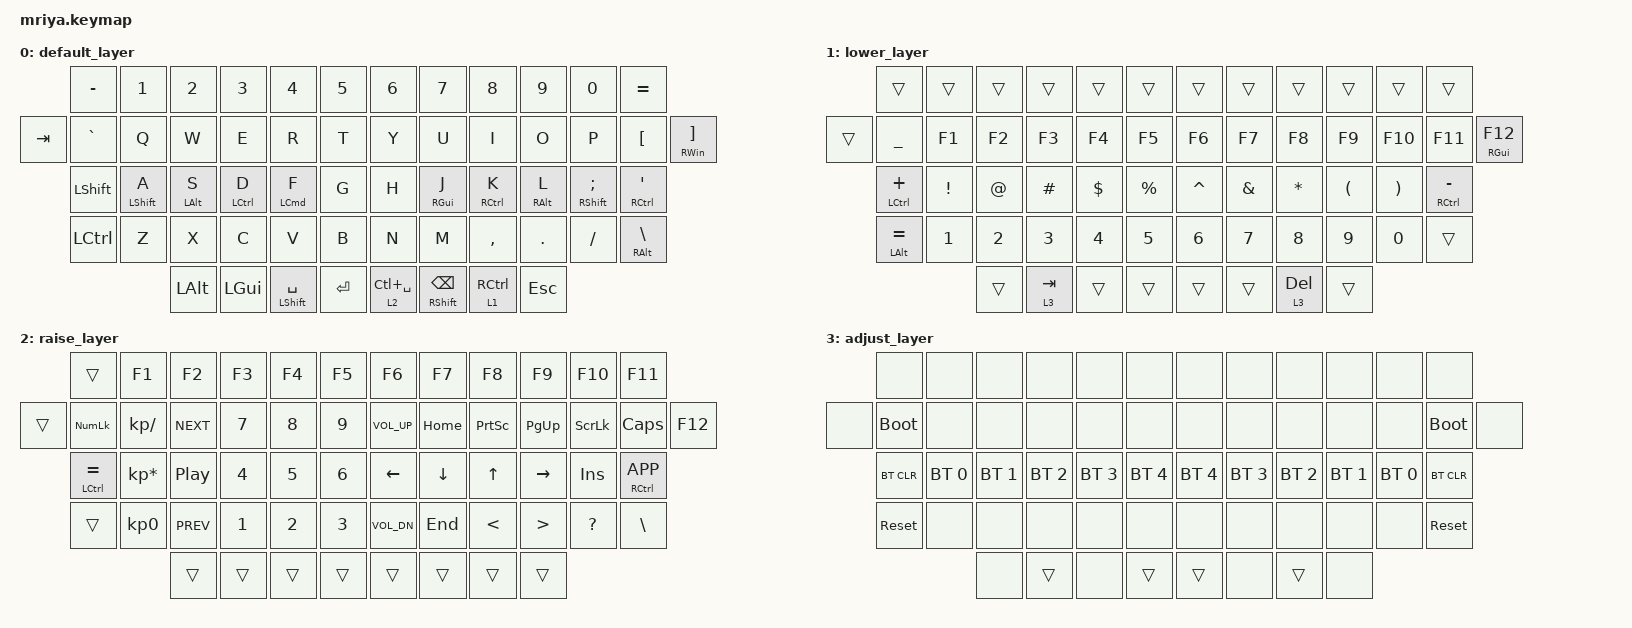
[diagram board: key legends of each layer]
/*
 * Copyright (c) 2023 Andrei Gaevskii
 *
 * SPDX-License-Identifier: MIT
 */

#include <behaviors.dtsi>
#include <dt-bindings/zmk/bt.h>
#include <dt-bindings/zmk/keys.h>

#define DEF 0
#define LWR 1
#define RSE 2
#define ADJ 3

&lt { quick_tap_ms = <200>; };

&mt {
    quick_tap_ms = <300>;
    flavor = "tap-preferred";
    tapping-term-ms = <300>;
    quick-tap-ms = <300>;
};

/ {
    macros {
        lang: lang {
            compatible = "zmk,behavior-macro";
            #binding-cells = <0>;
            bindings = <&kp LC(SPACE)>;
            label = "LANG";
        };
    };

    keymap {
        compatible = "zmk,keymap";

        default_layer {
            bindings = <
         &kp MINUS       &kp N1            &kp N2          &kp N3        &kp N4              &kp N5       &kp N6           &kp N7           &kp N8       &kp N9           &kp N0                &kp EQUAL
&kp TAB  &kp GRAVE       &kp Q             &kp W           &kp E         &kp R               &kp T        &kp Y            &kp U            &kp I        &kp O            &kp P                 &kp LBKT       &mt RWIN RBKT
         &kp LEFT_SHIFT  &mt LEFT_SHIFT A  &mt LEFT_ALT S  &mt LCTRL D   &mt LEFT_COMMAND F  &kp G        &kp H            &mt RIGHT_GUI J  &mt RCTRL K  &mt RIGHT_ALT L  &mt RIGHT_SHIFT SEMI  &mt RCTRL SQT
         &kp LCTRL       &kp Z             &kp X           &kp C         &kp V               &kp B        &kp N            &kp M            &kp COMMA    &kp DOT          &kp FSLH              &mt RALT BSLH
                                           &kp LALT        &kp LEFT_GUI  &mt LSHFT SPACE     &kp ENTER    &lt 2 LC(SPACE)  &mt RSHFT BSPC   &lt 1 RCTRL  &kp ESCAPE
            >;
        };

        lower_layer {
            bindings = <
        &trans          &trans    &trans  &trans     &trans    &trans       &trans     &trans    &trans     &trans    &trans    &trans
&trans  &kp UNDER       &kp F1    &kp F2  &kp F3     &kp F4    &kp F5       &kp F6     &kp F7    &kp F8     &kp F9    &kp F10   &kp F11          &mt RGUI F12
        &mt LCTRL PLUS  &kp EXCL  &kp AT  &kp HASH   &kp DLLR  &kp PRCNT    &kp CARET  &kp AMPS  &kp STAR   &kp LPAR  &kp RPAR  &mt RCTRL MINUS
        &mt LALT EQUAL  &kp N1    &kp N2  &kp N3     &kp N4    &kp N5       &kp N6     &kp N7    &kp N8     &kp N9    &kp N0    &trans
                                  &trans  &lt 3 TAB  &trans    &trans       &trans     &trans    &lt 3 DEL  &trans
            >;
        };

        raise_layer {
            bindings = <
        &trans           &kp F1           &kp F2            &kp F3        &kp F4        &kp F5          &kp F6        &kp F7          &kp F8         &kp F9            &kp F10       &kp F11
&trans  &kp KP_NUM       &kp KP_SLASH     &kp C_NEXT        &kp NUMBER_7  &kp NUMBER_8  &kp NUMBER_9    &kp C_VOL_UP  &kp HOME        &kp PSCRN      &kp PG_UP         &kp SLCK      &kp CAPS         &kp F12
        &mt LCTRL EQUAL  &kp KP_MULTIPLY  &kp C_PLAY_PAUSE  &kp NUMBER_4  &kp NUMBER_5  &kp NUMBER_6    &kp LEFT      &kp DOWN_ARROW  &kp UP         &kp RIGHT         &kp INS       &mt RCTRL K_APP
        &trans           &kp KP_N0        &kp C_PREV        &kp NUMBER_1  &kp NUMBER_2  &kp NUMBER_3    &kp C_VOL_DN  &kp END         &kp LESS_THAN  &kp GREATER_THAN  &kp QUESTION  &kp BACKSLASH
                                          &trans            &trans        &trans        &trans          &trans        &trans          &trans         &trans
            >;
        };

        adjust_layer {
            bindings = <
       &none        &none         &none         &none         &none         &none           &none         &none         &none         &none         &none         &none
&none  &bootloader  &none         &none         &none         &none         &none           &none         &none         &none         &none         &none         &bootloader  &none
       &bt BT_CLR   &bt BT_SEL 0  &bt BT_SEL 1  &bt BT_SEL 2  &bt BT_SEL 3  &bt BT_SEL 4    &bt BT_SEL 4  &bt BT_SEL 3  &bt BT_SEL 2  &bt BT_SEL 1  &bt BT_SEL 0  &bt BT_CLR
       &sys_reset   &none         &none         &none         &none         &none           &none         &none         &none         &none         &none         &sys_reset
                                  &none         &trans        &none         &trans          &trans        &none         &trans        &none
            >;
        };
    };

    conditional_layers {
        compatible = "zmk,conditional-layers";

        settings {
            if-layers = <1 2>;
            then-layer = <3>;
        };
    };
};
